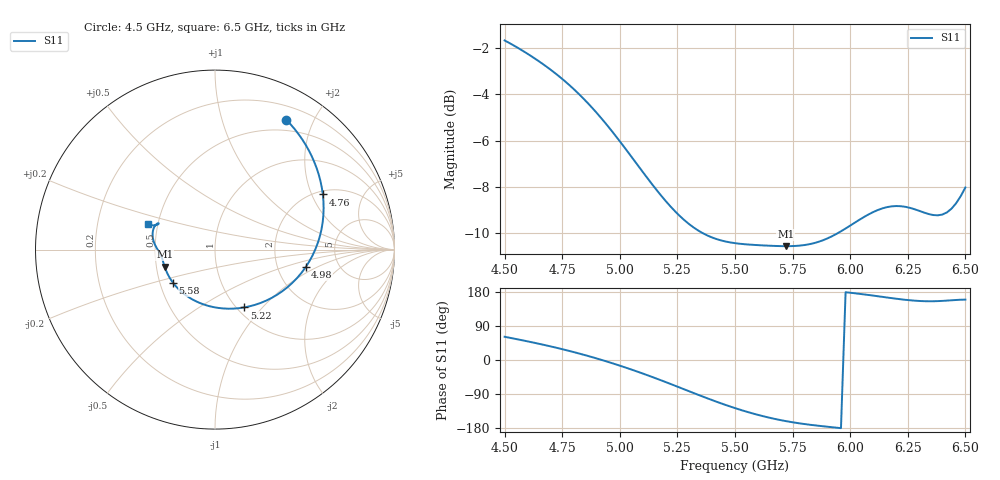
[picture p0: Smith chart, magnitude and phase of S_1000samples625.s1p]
! TOUCHSTONE file generated by CST MICROWAVE STUDIO
! Date and time: Fri Oct 28 19:45:40 2022
! Project name: L.cst
! Parameters = {Di=1.27; Epsilon_r=1.56; InnerDiameter=1.27; Length=2; Lf=10; Lg=60; OuterConductorThickness=0.2921; OuterDiameter=3.6; Wf=3; Wp=41.2; de=1.5; df=6.8; g=0.8; gx=1.96525; gy=1.63328; h=2.34; hf=1.524; px=12.0124; py=9.10698; w=9.7; wx=10.0472; wy=7.4737}
! Header version: 2018
! Port assignment regex: !\s*Touchstone port\s*([0-9]+)\s*=\s*(CST MWS port|CST DS port)\s*([0-9]+|Zmin|Zmax)\s*\(\"(.*)\"\)(\s*mode\s*([0-9]+))?.*
! Touchstone port assignment:
! Touchstone port 1 = CST MWS port 1 ("")
# GHz S DB R 50
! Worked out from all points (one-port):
!   101 points, 4.5 GHz to 6.5 GHz, reference 50 ohm
!   lowest |S11| = -10.6 dB at 5.72 GHz (marker M1), VSWR 1.84, Z = 27.7 - j5.8 ohm
!   |S11| at or under -10 dB: 5.359 GHz to 5.947 GHz (587.9 MHz wide, 10.4 % of centre)
!   S11 on the Smith chart (normalised r, x): 4.5 GHz: 0.36, +1.63; 4.76 GHz: 2.15, +2.42; 4.98 GHz: 2.89, -0.77; 5.22 GHz: 1.08, -0.80; 5.58 GHz: 0.59, -0.24; 6.5 GHz: 0.44, +0.15
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4.5  -1.67 61.3
4.58  -2.12 51.6
4.64  -2.51 44.0
4.7  -2.94 35.8
4.76  -3.42 27.1
4.82  -3.96 17.6
4.86  -4.37 11.0
4.92  -5.04 0.4
4.98  -5.77 -11.0
5  -6.03 -14.9
5.06  -6.83 -27.2
5.12  -7.63 -40.2
5.22  -8.85 -63.2
5.26  -9.26 -72.7
5.36  -10.01 -96.5
5.44  -10.32 -114.5
5.5  -10.44 -126.9
5.58  -10.51 -141.6
5.72  -10.57 -161.2
5.76  -10.56 -165.3
5.88  -10.32 -174.7
6  -9.68 177.5
6.14  -8.93 166.6
6.26  -8.91 157.6
6.32  -9.11 155.2
6.4  -9.20 156.0
6.44  -8.94 157.6
6.5  -8.03 159.3
